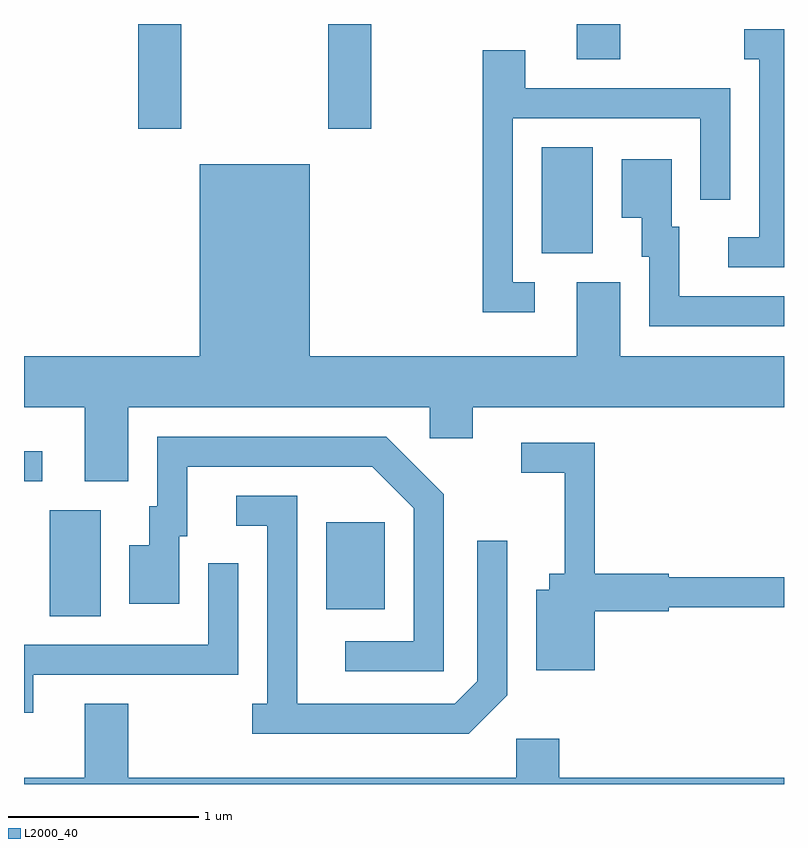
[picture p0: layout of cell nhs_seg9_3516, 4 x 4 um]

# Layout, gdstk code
import gdstk
lib = gdstk.Library(unit=1e-6, precision=1e-09)
def R(c, l, rs):  # rectangles x0, y0, x1, y1
    for r in rs: c.add(gdstk.rectangle(r[:2], r[2:], *l))
def P(c, l, *ps):  # polygons
    for p in ps: c.add(gdstk.Polygon(p, *l))
L2000_40 = (2000, 40)

nhs_seg9_3516 = lib.new_cell('nhs_seg9_3516')
R(nhs_seg9_3516, L2000_40, [(287.746,2057.316,288.014,2057.874), (289.201,2057.351,289.509,2057.809), (287.611,2058.026,287.708,2058.184), (290.336,2059.226,290.604,2059.784), (288.211,2059.881,288.439,2060.432), (289.211,2059.881,289.439,2060.432), (290.521,2060.246,290.749,2060.432)])
P(nhs_seg9_3516, L2000_40, [(291.611,2060.404),(291.403,2060.404),(291.403,2060.246),(291.481,2060.246),(291.481,2059.309),(291.318,2059.309),(291.318,2059.151),(291.611,2059.151)],
  [(290.298,2059.074),(290.184,2059.074),(290.184,2059.936),(291.171,2059.936),(291.171,2059.508),(291.329,2059.508),(291.329,2060.094),(290.249,2060.094),(290.249,2060.294),(290.026,2060.294),(290.026,2058.916),(290.298,2058.916)],
  [(291.611,2058.999),(291.059,2058.999),(291.059,2059.364),(291.019,2059.364),(291.019,2059.719),(290.756,2059.719),(290.756,2059.411),(290.861,2059.411),(290.861,2059.206),(290.901,2059.206),(290.901,2058.841),(291.611,2058.841)],
  [(288.159,2058.416),(289.746,2058.416),(289.746,2058.251),(289.974,2058.251),(289.974,2058.416),(291.611,2058.416),(291.611,2058.684),(290.749,2058.684),(290.749,2059.074),(290.521,2059.074),(290.521,2058.684),(289.114,2058.684),(289.114,2059.694),(288.536,2059.694),(288.536,2058.684),(287.611,2058.684),(287.611,2058.416),(287.931,2058.416),(287.931,2058.026),(288.159,2058.026)],
  [(289.819,2057.957),(289.517,2058.259),(288.311,2058.259),(288.311,2057.894),(288.271,2057.894),(288.271,2057.689),(288.166,2057.689),(288.166,2057.381),(288.429,2057.381),(288.429,2057.736),(288.469,2057.736),(288.469,2058.101),(289.444,2058.101),(289.661,2057.884),(289.661,2057.184),(289.303,2057.184),(289.303,2057.026),(289.819,2057.026)],
  [(290.614,2057.341),(291.004,2057.341),(291.004,2057.361),(291.611,2057.361),(291.611,2057.519),(291.004,2057.519),(291.004,2057.539),(290.614,2057.539),(290.614,2058.229),(290.228,2058.229),(290.228,2058.071),(290.456,2058.071),(290.456,2057.539),(290.376,2057.539),(290.376,2057.454),(290.306,2057.454),(290.306,2057.031),(290.614,2057.031)],
  [(290.154,2056.899),(290.154,2057.713),(289.996,2057.713),(289.996,2056.972),(289.879,2056.854),(289.049,2056.854),(289.049,2057.949),(288.728,2057.949),(288.728,2057.791),(288.891,2057.791),(288.891,2056.854),(288.813,2056.854),(288.813,2056.696),(289.952,2056.696)],
  [(287.659,2057.006),(288.739,2057.006),(288.739,2057.593),(288.581,2057.593),(288.581,2057.164),(287.611,2057.164),(287.611,2056.806),(287.659,2056.806)],
  [(291.611,2056.464),(290.429,2056.464),(290.429,2056.669),(290.201,2056.669),(290.201,2056.464),(288.159,2056.464),(288.159,2056.854),(287.931,2056.854),(287.931,2056.464),(287.611,2056.464),(287.611,2056.432),(291.611,2056.432)])

lib.write_gds('nhs_seg9_3516.gds')
